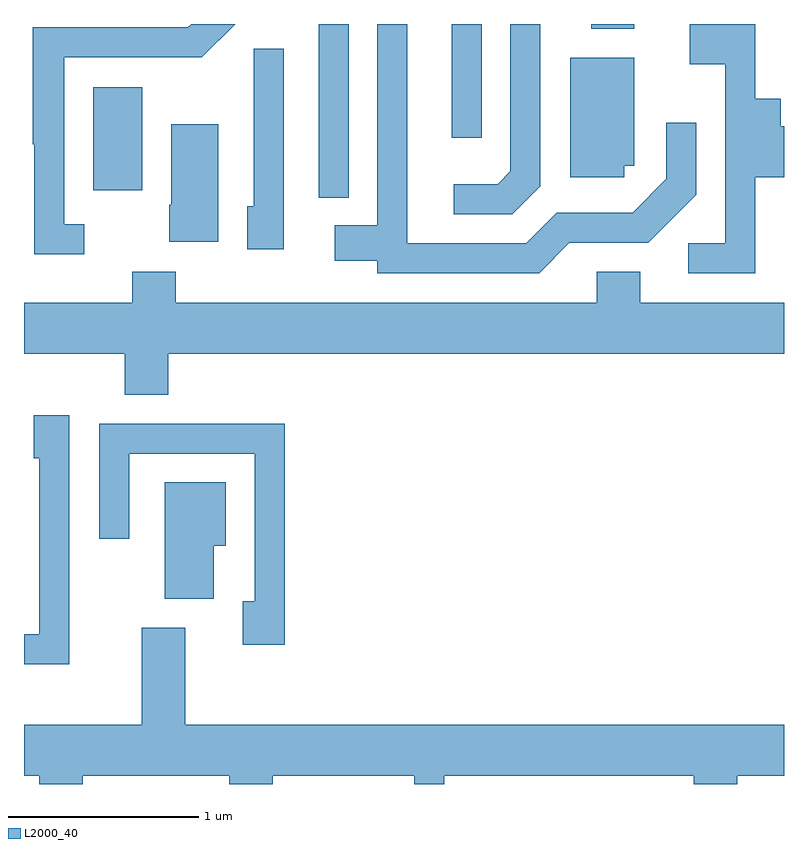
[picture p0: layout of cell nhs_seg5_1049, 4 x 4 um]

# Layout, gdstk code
import gdstk
lib = gdstk.Library(unit=1e-6, precision=1e-09)
def R(c, l, rs):  # rectangles x0, y0, x1, y1
    for r in rs: c.add(gdstk.rectangle(r[:2], r[2:], *l))
def P(c, l, *ps):  # polygons
    for p in ps: c.add(gdstk.Polygon(p, *l))
L2000_40 = (2000, 40)

nhs_seg5_1049 = lib.new_cell('nhs_seg5_1049')
R(nhs_seg5_1049, L2000_40, [(217.161,1473.158,217.319,1474.072), (215.976,1473.196,216.234,1473.739), (217.861,1473.473,218.019,1474.072), (218.596,1474.046,218.824,1474.072)])
P(nhs_seg5_1049, L2000_40, [(218.329,1473.219),(218.329,1474.072),(218.171,1474.072),(218.171,1473.297),(218.104,1473.229),(217.873,1473.229),(217.873,1473.071),(218.182,1473.071)],
  [(215.928,1473.019),(215.824,1473.019),(215.824,1473.896),(216.547,1473.896),(216.722,1474.072),(216.492,1474.072),(216.474,1474.054),(215.656,1474.054),(215.656,1473.44),(215.666,1473.44),(215.666,1472.861),(215.928,1472.861)],
  [(218.482,1472.921),(218.897,1472.921),(219.149,1473.174),(219.149,1473.553),(218.991,1473.553),(218.991,1473.257),(218.814,1473.079),(218.414,1473.079),(218.254,1472.919),(217.629,1472.919),(217.629,1474.072),(217.471,1474.072),(217.471,1473.014),(217.246,1473.014),(217.246,1472.826),(217.471,1472.826),(217.471,1472.761),(218.322,1472.761)],
  [(219.459,1473.266),(219.611,1473.266),(219.611,1473.534),(219.594,1473.534),(219.594,1473.679),(219.459,1473.679),(219.459,1474.072),(219.116,1474.072),(219.116,1473.861),(219.301,1473.861),(219.301,1472.919),(219.108,1472.919),(219.108,1472.761),(219.459,1472.761)],
  [(216.979,1473.943),(216.821,1473.943),(216.821,1473.114),(216.786,1473.114),(216.786,1472.886),(216.979,1472.886)],
  [(218.769,1473.326),(218.824,1473.326),(218.824,1473.894),(218.486,1473.894),(218.486,1473.266),(218.769,1473.266)],
  [(216.634,1473.544),(216.386,1473.544),(216.386,1473.12),(216.376,1473.12),(216.376,1472.926),(216.634,1472.926)],
  [(216.369,1472.336),(219.611,1472.336),(219.611,1472.604),(218.854,1472.604),(218.854,1472.769),(218.626,1472.769),(218.626,1472.604),(216.409,1472.604),(216.409,1472.769),(216.181,1472.769),(216.181,1472.604),(215.611,1472.604),(215.611,1472.336),(216.141,1472.336),(216.141,1472.121),(216.369,1472.121)],
  [(215.849,1472.014),(215.661,1472.014),(215.661,1471.786),(215.691,1471.786),(215.691,1470.859),(215.611,1470.859),(215.611,1470.701),(215.849,1470.701)],
  [(216.984,1471.969),(216.006,1471.969),(216.006,1471.363),(216.164,1471.363),(216.164,1471.811),(216.826,1471.811),(216.826,1471.034),(216.761,1471.034),(216.761,1470.806),(216.984,1470.806)],
  [(216.609,1471.326),(216.674,1471.326),(216.674,1471.659),(216.351,1471.659),(216.351,1471.046),(216.609,1471.046)],
  [(215.919,1470.116),(216.691,1470.116),(216.691,1470.072),(216.919,1470.072),(216.919,1470.116),(217.666,1470.116),(217.666,1470.072),(217.824,1470.072),(217.824,1470.116),(219.136,1470.116),(219.136,1470.072),(219.364,1470.072),(219.364,1470.116),(219.611,1470.116),(219.611,1470.384),(216.459,1470.384),(216.459,1470.894),(216.231,1470.894),(216.231,1470.384),(215.611,1470.384),(215.611,1470.116),(215.691,1470.116),(215.691,1470.072),(215.919,1470.072)])

lib.write_gds('nhs_seg5_1049.gds')
